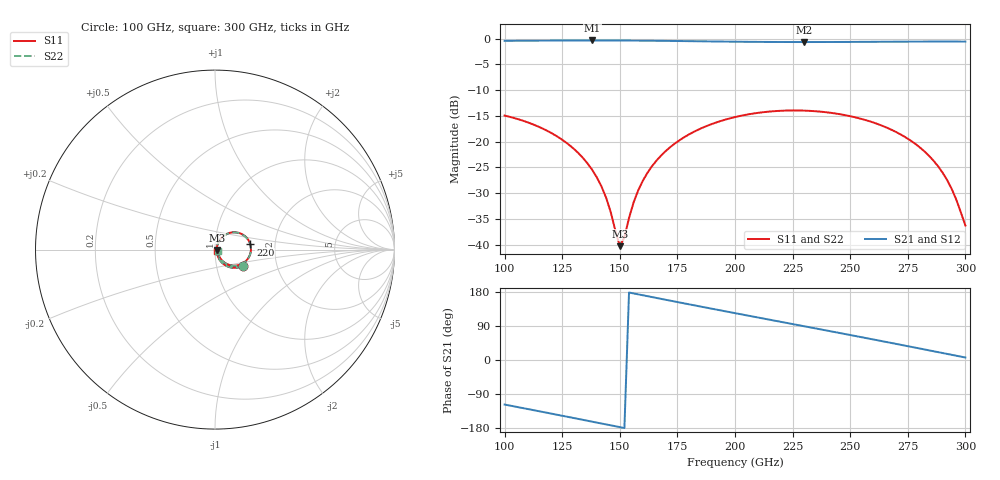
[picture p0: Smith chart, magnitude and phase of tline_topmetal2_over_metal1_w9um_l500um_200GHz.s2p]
#  GHZ S DB R 50
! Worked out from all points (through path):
!   101 points, 100 GHz to 300 GHz, reference 50 ohm
!   highest |S21| = -0.37 dB at 138 GHz (marker M1); lowest = -0.7 dB at 230 GHz (marker M2)
!   group delay of S21, straight-line fit = 3.26 ps
!   lowest |S11| = -40.3 dB at 150 GHz (marker M3), VSWR 1.02, Z = 51 - j0.168 ohm
!   |S11| at or under -10 dB: start of sweep to end of sweep
!   |S22| runs from -40.2 to -14.0 dB; largest |S21 - S12| = 1.1e-14
!   S11 on the Smith chart (normalised r, x): 100 GHz: 1.34, -0.25; 220 GHz: 1.49, +0.09; 300 GHz: 1.03, -0.01
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100  -14.95 -30.5  -0.44 -117.6  -0.44 -117.6  -14.95 -30.7
120  -18.27 -51.6  -0.39 -141.2  -0.39 -141.2  -18.27 -51.8
134  -23.17 -64.1  -0.37 -157.9  -0.37 -157.9  -23.17 -64.4
138  -25.48 -66.3  -0.37 -162.7  -0.37 -162.7  -25.48 -66.5
144  -30.82 -64.2  -0.37 -169.9  -0.37 -169.9  -30.82 -64.3
150  -40.31 -9.9  -0.38 -177.1  -0.38 -177.1  -40.23 -10.0
152  -38.58 33.4  -0.39 -179.5  -0.39 -179.5  -38.51 32.9
154  -34.83 53.3  -0.39 178.0  -0.39 178.0  -34.80 52.8
158  -29.46 64.0  -0.40 173.2  -0.40 173.2  -29.45 63.5
162  -26.07 64.8  -0.42 168.4  -0.42 168.4  -26.06 64.3
168  -22.68 61.6  -0.44 161.3  -0.44 161.3  -22.67 61.1
182  -18.14 48.9  -0.52 144.7  -0.52 144.7  -18.14 48.4
200  -15.25 30.0  -0.61 123.7  -0.61 123.7  -15.25 29.4
220  -14.02 8.3  -0.67 100.6  -0.67 100.6  -14.02 7.7
230  -13.99 -2.6  -0.68 89.1  -0.68 89.1  -13.99 -3.2
234  -14.08 -7.0  -0.68 84.5  -0.68 84.5  -14.08 -7.6
250  -15.07 -24.2  -0.66 65.9  -0.66 65.9  -15.07 -24.9
268  -17.72 -43.0  -0.61 44.8  -0.61 44.8  -17.73 -43.7
280  -21.05 -54.0  -0.59 30.5  -0.59 30.5  -21.06 -54.7
288  -24.71 -58.5  -0.58 20.9  -0.58 20.9  -24.72 -59.2
294  -29.14 -56.2  -0.59 13.7  -0.59 13.7  -29.15 -56.7
300  -36.30 -24.9  -0.59 6.5  -0.59 6.5  -36.20 -24.8
